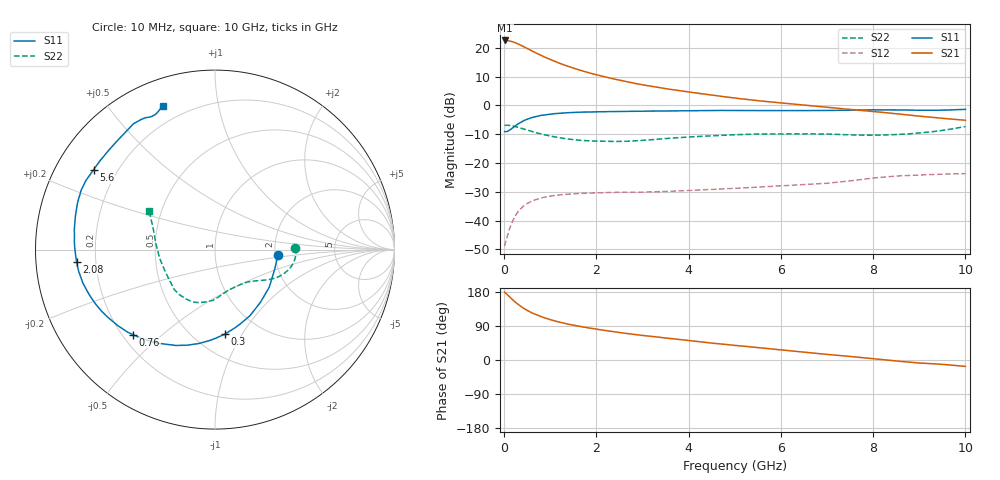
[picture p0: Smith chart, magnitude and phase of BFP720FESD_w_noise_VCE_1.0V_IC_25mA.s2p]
! Infineon Technologies  Discrete & RF Semiconductors
! BFP720FESD
! VCE =  1.0 V,  IC =  25 mA
! Common Emitter S-Parameters:  Jan 2016
# GHz  S  MA  R  50
!  f  S11  S21  S12  S22
! GHz  MAG  ANG  MAG  ANG  MAG  ANG  MAG  ANG
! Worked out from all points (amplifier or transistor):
!   233 points, 10 MHz to 10 GHz, reference 50 ohm
!   highest |S21| = 22.5 dB at 20 MHz (marker M1)
!   |S21| within 3 dB of that: start of sweep to 526.4 MHz
!   unconditionally stable (mu >= 1): start of sweep to end of sweep
!   at 200 MHz: K = 2.59, MAG = 23.8 dB, |S12| = -39.7 dB
!   at 1.74 GHz: K = 1.59, MAG = 16.6 dB, |S12| = -30.5 dB
!   at 10 GHz: K = 3.27, MAG = 1.2 dB, |S12| = -23.7 dB
!   lowest NFmin = 1.08 dB at 450 MHz
!   S11 on the Smith chart (normalised r, x): 10 MHz: 2.07, -0.15; 300 MHz: 0.69, -0.84; 760 MHz: 0.24, -0.40; 2.08 GHz: 0.13, -0.04; 5.6 GHz: 0.11, +0.30; 10 GHz: 0.12, +0.69
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0.01  0.3511 -5.1  13.31 179.3  0.0036 10.6  0.4471 1.1
0.02  0.3501 -7.5  13.35 177.7  0.004 17.2  0.4508 -0.9
0.1  0.3677 -34.6  13.17 168.6  0.0065 44.6  0.45 -6.3
0.16  0.3919 -51.9  12.83 161.5  0.0089 49.8  0.4416 -10.1
0.24  0.4381 -71.5  12.17 153.0  0.012 50.9  0.4279 -14.6
0.3  0.4753 -83.6  11.65 147.1  0.0142 49.9  0.4153 -17.5
0.4  0.5304 -99.6  10.65 138.3  0.0173 46.9  0.3933 -21.7
0.5  0.5766 -112.1  9.697 130.9  0.0198 43.6  0.3714 -25.2
0.6  0.6136 -121.9  8.812 124.4  0.0218 40.5  0.3516 -28.0
0.76  0.6579 -133.9  7.62 116.3  0.0242 36.4  0.3246 -31.6
0.9  0.688 -142.1  6.755 110.1  0.0257 33.3  0.3053 -34.4
1.1  0.7176 -151.1  5.775 102.9  0.0273 30.1  0.283 -38.0
1.38  0.7444 -160.4  4.761 94.8  0.0287 26.9  0.2606 -43.4
1.68  0.7622 -167.7  3.995 87.8  0.0296 24.7  0.2466 -49.3
2.08  0.7738 -175.0  3.268 80.0  0.0304 23.4  0.2383 -57.7
2.78  0.7867 174.5  2.449 68.0  0.0312 22.8  0.2401 -73.5
3.4  0.7977 167.6  2.006 59.5  0.0318 25.0  0.2615 -84.6
5.1  0.8144 151.1  1.309 37.5  0.0366 30.9  0.3105 -108.3
5.6  0.8099 146.7  1.182 31.7  0.0385 32.1  0.3175 -114.8
6.8  0.8123 134.1  0.958 17.2  0.0435 35.0  0.318 -132.7
8.4  0.8336 119.5  0.728 -1.4  0.0584 34.2  0.3087 -168.0
10  0.8509 110.1  0.551 -16.9  0.0653 25.5  0.4277 149.4
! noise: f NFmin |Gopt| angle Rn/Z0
0.45  1.08  0.05  -156  0.11
2.4  1.1  0.07  -150  0.13
5.5  1.29  0.18  170  0.11
10  1.76  0.32  -118  0.19
